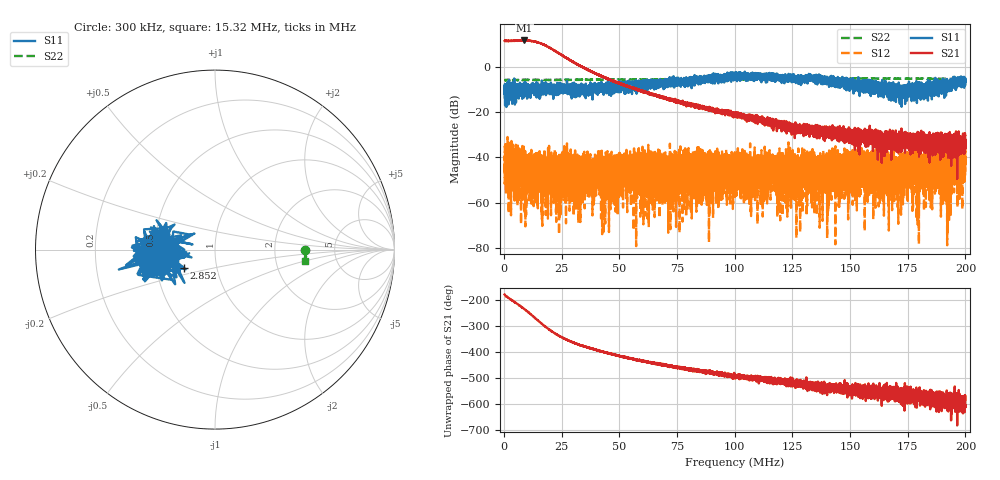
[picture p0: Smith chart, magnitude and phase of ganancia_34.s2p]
# Hz S DB R 50
! CMT, M5065, 19127446, 24.2.4/2
! Date: 10/29/2024 12:33:56 PM
! Data: Format (Calibration Info)
! Freq	S11:dB/Ang(F2)	S21:dB/Ang(F2)	S12:dB/Ang(F2)	S22:dB/Ang(F2)
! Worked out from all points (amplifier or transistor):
!   9000 points, 300 kHz to 200 MHz, reference 50 ohm
!   highest |S21| = 11.5 dB at 8.777 MHz (marker M1)
!   |S21| within 3 dB of that: start of sweep to 19.45 MHz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
!   unconditionally stable (mu >= 1): start of sweep to end of sweep
!   at 33.59 MHz: K = 90.10, MAG = 1.6 dB, |S12| = -48.3 dB
!   at 100.2 MHz: K = 265.96, MAG = -17.5 dB, |S12| = -40.2 dB
!   at 200 MHz: K = 2936.55, MAG = -33.8 dB, |S12| = -44.1 dB
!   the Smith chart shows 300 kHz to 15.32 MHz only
!   S11 on the Smith chart (normalised r, x): 300 kHz: 0.47, -0.10; 2.852 MHz: 0.69, -0.15; 15.32 MHz: 0.48, -0.14
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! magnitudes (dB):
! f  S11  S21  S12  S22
! 300 kHz  -8.7  11.3  -46.5  -6.0
! 1.41 MHz  -10.5  11.3  -39.5  -5.9
! 2.852 MHz  -13.9  11.3  -45.9  -6.0
! 8.777 MHz  -10.1  11.5  -38.7  -5.9
! 15.32 MHz  -8.9  10.5  -47.2  -5.9
! 23.45 MHz  -9.7  6.0  -57.2  -5.9
! 33.59 MHz  -12.4  0.1  -48.3  -5.9
! 40.42 MHz  -8.5  -3.4  -53.2  -5.8
! 44.62 MHz  -7.2  -5.1  -58.1  -5.8
! 66.87 MHz  -8.0  -12.8  -36.6  -5.7
! 100.2 MHz  -4.6  -20.7  -40.2  -5.7
! 111.8 MHz  -4.3  -23.6  -50.1  -5.6
! 115.7 MHz  -5.2  -24.7  -47.3  -5.5
! 125.7 MHz  -5.1  -27.0  -50.9  -5.4
! 133.4 MHz  -5.0  -27.3  -42.1  -5.4
! 166.7 MHz  -12.5  -31.1  -53.8  -5.3
! 178.2 MHz  -9.6  -32.7  -50.2  -5.4
! 184.9 MHz  -9.3  -33.6  -46.0  -5.4
! 187 MHz  -9.4  -38.9  -43.9  -5.4
! 192.9 MHz  -7.8  -36.0  -47.9  -5.5
! 195.2 MHz  -8.6  -34.7  -49.3  -5.4
! 200 MHz  -6.6  -36.3  -44.1  -5.5
